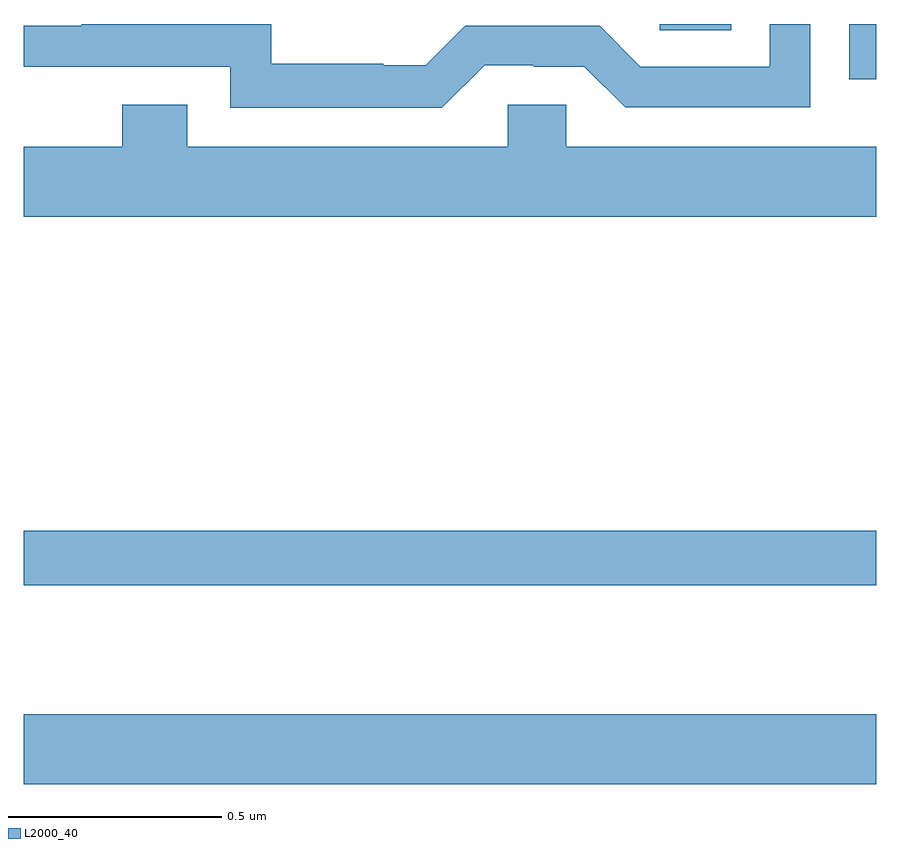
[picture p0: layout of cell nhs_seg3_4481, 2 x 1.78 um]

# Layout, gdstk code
import gdstk
lib = gdstk.Library(unit=1e-6, precision=1e-09)
def R(c, l, rs):  # rectangles x0, y0, x1, y1
    for r in rs: c.add(gdstk.rectangle(r[:2], r[2:], *l))
def P(c, l, *ps):  # polygons
    for p in ps: c.add(gdstk.Polygon(p, *l))
L2000_40 = (2000, 40)

nhs_seg3_4481 = lib.new_cell('nhs_seg3_4481')
R(nhs_seg3_4481, L2000_40, [(167,667.616,169,667.78), (167,668.082,169,668.21), (168.937,669.27,169,669.4), (168.492,669.385,168.66,669.4)])
P(nhs_seg3_4481, L2000_40, [(168.081,669.303),(168.197,669.303),(168.197,669.3),(168.315,669.3),(168.411,669.204),(168.846,669.204),(168.846,669.4),(168.75,669.4),(168.75,669.3),(168.447,669.3),(168.351,669.396),(168.036,669.396),(167.943,669.303),(167.843,669.303),(167.843,669.307),(167.58,669.307),(167.58,669.4),(167.136,669.4),(167.136,669.396),(167,669.396),(167,669.3),(167.484,669.3),(167.484,669.203),(167.981,669.203)],
  [(169,669.112),(168.273,669.112),(168.273,669.21),(168.135,669.21),(168.135,669.112),(167.383,669.112),(167.383,669.211),(167.231,669.211),(167.231,669.112),(167,669.112),(167,668.948),(169,668.948)])

lib.write_gds('nhs_seg3_4481.gds')
